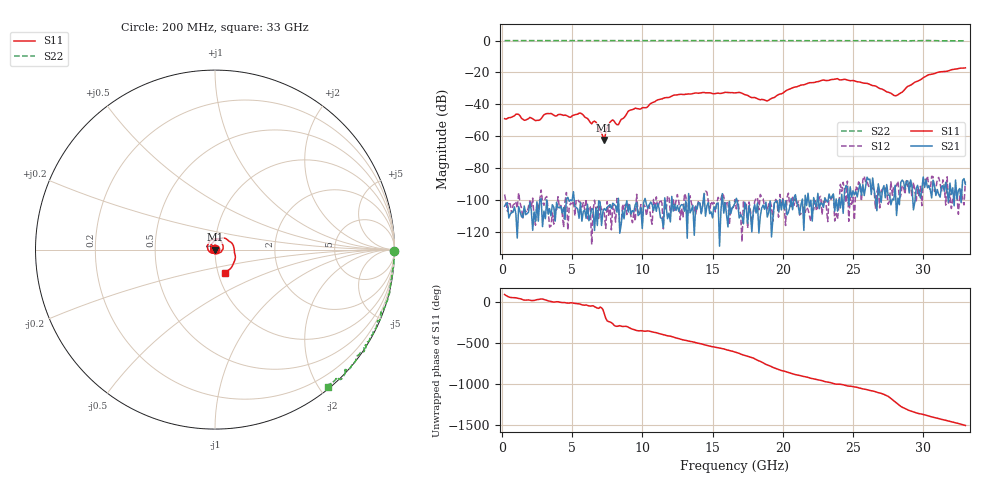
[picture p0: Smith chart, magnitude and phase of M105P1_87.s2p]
# GHZ S RI R 50
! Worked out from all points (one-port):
!   329 points, 200 MHz to 33 GHz, reference 50 ohm
!   lowest |S11| = -62.3 dB at 7.3 GHz (marker M1), VSWR 1.00, Z = 49.9 - j0.0414 ohm
!   |S11| at or under -10 dB: start of sweep to end of sweep
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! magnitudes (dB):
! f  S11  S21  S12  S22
! 200 MHz  -49.0  -103.9  -96.5  0.0
! 1.1 GHz  -46.1  -123.8  -105.2  0.0
! 1.6 GHz  -50.0  -103.8  -105.5  0.0
! 2.4 GHz  -50.2  -113.4  -115.8  0.0
! 3.2 GHz  -45.8  -99.9  -97.8  0.0
! 5.7 GHz  -46.0  -113.3  -104.5  0.0
! 6.4 GHz  -52.2  -105.3  -127.9  0.0
! 6.7 GHz  -51.2  -105.0  -105.6  0.0
! 7.3 GHz  -62.3  -105.3  -108.8  0.0
! 7.5 GHz  -54.5  -104.6  -100.9  0.0
! 7.8 GHz  -50.3  -105.3  -118.7  0.0
! 8.3 GHz  -52.7  -98.9  -101.6  0.0
! 9 GHz  -44.3  -107.5  -102.0  0.0
! 11.2 GHz  -36.9  -105.3  -102.0  0.0
! 16.6 GHz  -32.8  -101.9  -99.7  -0.1
! 18.9 GHz  -37.9  -110.6  -106.7  0.0
! 22.1 GHz  -26.4  -113.2  -106.2  -0.1
! 24.4 GHz  -24.3  -94.3  -94.3  -0.1
! 27.6 GHz  -32.7  -97.1  -100.6  0.0
! 28.1 GHz  -34.4  -109.7  -90.9  0.0
! 30.4 GHz  -21.4  -91.1  -91.5  0.1
! 33 GHz  -17.1  -90.3  -88.3  -0.1
